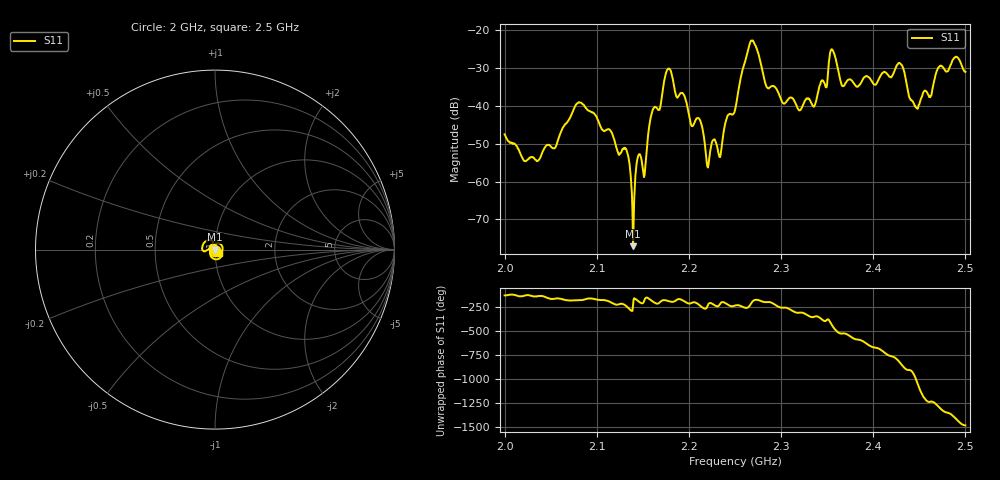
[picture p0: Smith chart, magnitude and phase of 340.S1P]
! C:\Users\rflab\Downloads\dp2_kdzw\340.S1P
! Touchstone 1.1 file saved by VNA.EXE V1.65 (www.ke5fx.com/gpib/readme.htm)
! 12/12/2024 7:12:05 PM
!  Source: HEWLETT PACKARD,8753D,0,6.14
!  Min freq: 2.000000E+009 Hz
!  Max freq: 2.500000E+009 Hz
!  Points: 801
!  Params: S21
# GHZ S MA R 50
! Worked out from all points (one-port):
!   801 points, 2 GHz to 2.5 GHz, reference 50 ohm
!   lowest |S11| = -77.1 dB at 2.139 GHz (marker M1), VSWR 1.00, Z = 50 + j0.0105 ohm
!   |S11| at or under -10 dB: start of sweep to end of sweep
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2  0.004193 -124.6
2.035625  0.001859 -133.6
2.0625  0.004992 -164.8
2.083125  0.01099 -173.9
2.125  0.002348 145.6
2.133125  0.002394 114.2
2.139375  0.00014 131.2
2.145  0.002184 175.2
2.151875  0.001213 -170.0
2.159375  0.007692 -178.5
2.17625  0.02951 -179.7
2.1875  0.01274 -167.1
2.211875  0.006522 130.6
2.220625  0.00153 133.6
2.23375  0.002094 145.8
2.25  0.008818 128.8
2.26875  0.07242 169.5
2.285  0.01733 165.7
2.3125  0.01256 73.2
2.33625  0.01002 14.3
2.355625  0.05488 -81.9
2.36625  0.01828 -162.6
2.375  0.02231 168.7
2.42875  0.03671 -102.1
2.4375  0.01594 179.0
2.4475  0.009303 50.7
2.471875  0.03315 146.2
2.5  0.02805 -39.4
